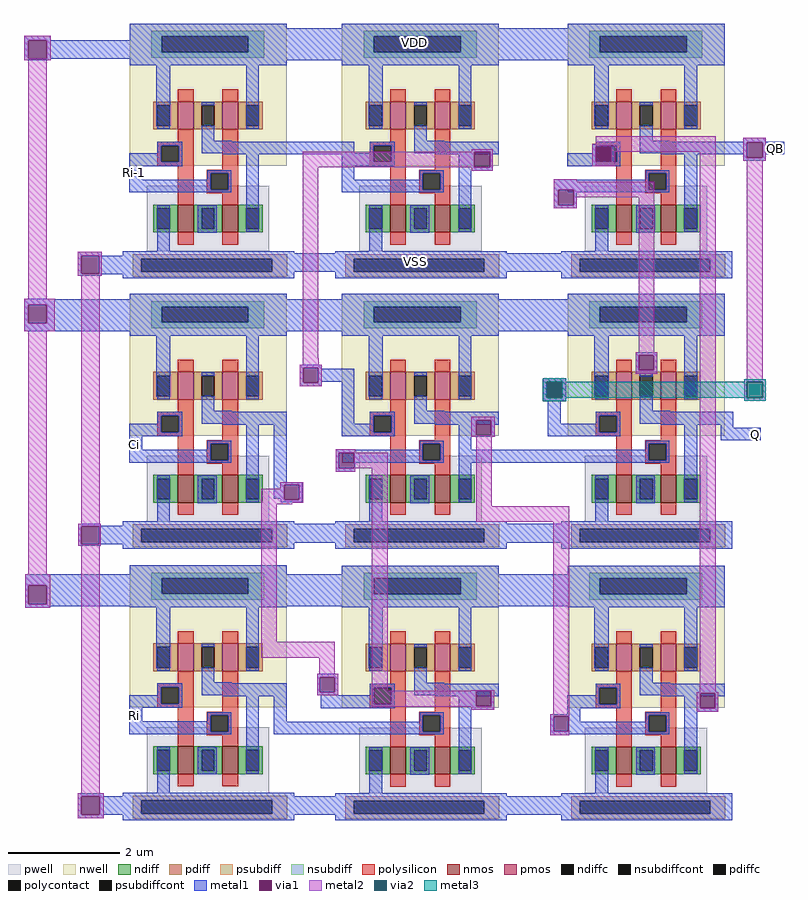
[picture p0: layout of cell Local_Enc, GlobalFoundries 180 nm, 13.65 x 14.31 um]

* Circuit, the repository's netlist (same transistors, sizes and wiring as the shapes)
* NGSPICE file created from Local_Enc.ext - technology: gf180mcuC

.subckt pmos_3p3_M8RWPS a_n28_n94# w_n202_n180# a_n116_n50# a_28_n50#
X0 a_28_n50# a_n28_n94# a_n116_n50# w_n202_n180# pfet_03v3 ad=0.22p pd=1.88u as=0.22p ps=1.88u w=0.5u l=0.28u
.ends

.subckt nmos_3p3_HZS5UA a_n28_n94# a_n116_n50# a_28_n50# VSUBS
X0 a_28_n50# a_n28_n94# a_n116_n50# VSUBS nfet_03v3 ad=0.22p pd=1.88u as=0.22p ps=1.88u w=0.5u l=0.28u
.ends

.subckt NAND VDD VSS B A OUT
Xpmos_3p3_M8RWPS_0 A VDD VDD OUT pmos_3p3_M8RWPS
Xpmos_3p3_M8RWPS_1 B VDD VDD OUT pmos_3p3_M8RWPS
Xnmos_3p3_HZS5UA_0 A m1_184_67# OUT VSS nmos_3p3_HZS5UA
Xnmos_3p3_HZS5UA_1 B VSS m1_184_67# VSS nmos_3p3_HZS5UA
.ends

.subckt Local_Enc Ri-1 VDD VSS Q QB Ci Ri
XNAND_0 VDD VSS Ri-1 Ri-1 NAND_1/B NAND
XNAND_1 VDD VSS NAND_1/B NAND_1/B NAND_5/B NAND
XNAND_2 VDD VSS Ci Ci NAND_6/B NAND
XNAND_4 VDD VSS NAND_4/B Q QB NAND
XNAND_3 VDD VSS Ri Ri NAND_6/A NAND
XNAND_5 VDD VSS NAND_5/B NAND_5/A NAND_8/A NAND
XNAND_6 VDD VSS NAND_6/B NAND_6/A NAND_5/A NAND
XNAND_7 VDD VSS NAND_8/A NAND_8/A NAND_4/B NAND
XNAND_8 VDD VSS QB NAND_8/A Q NAND
.ends

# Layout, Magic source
magic
tech gf180mcuC
magscale 1 10
<< nwell >>
rect 1738 2353 1814 2427
<< metal1 >>
rect 75 2845 190 2846
rect -304 2802 -208 2817
rect 75 2802 2212 2845
rect -304 2735 -289 2802
rect -222 2735 2212 2802
rect -304 2729 -208 2735
rect 75 2730 2212 2735
rect 2280 2437 2361 2451
rect 74 2255 120 2395
rect 593 2391 883 2437
rect 2167 2435 2426 2437
rect 1738 2421 1814 2427
rect 837 2255 883 2391
rect 1299 2401 1380 2410
rect 1299 2345 1314 2401
rect 1370 2345 1380 2401
rect 1738 2365 1749 2421
rect 1805 2365 1814 2421
rect 2167 2391 2293 2435
rect 2280 2379 2293 2391
rect 2349 2391 2426 2435
rect 2349 2379 2361 2391
rect 2280 2369 2361 2379
rect 1738 2353 1814 2365
rect 1299 2333 1380 2345
rect 1599 2264 1681 2302
rect 1599 2208 1615 2264
rect 1671 2208 1681 2264
rect 1599 2197 1681 2208
rect -111 2028 -25 2042
rect 51 2028 2227 2037
rect -111 2027 2227 2028
rect -111 1962 -99 2027
rect -34 1970 2227 2027
rect -34 1962 118 1970
rect -111 1961 118 1962
rect -111 1955 -25 1961
rect -304 1871 -194 1872
rect -304 1851 2187 1871
rect -304 1784 -289 1851
rect -222 1784 2187 1851
rect -304 1756 2187 1784
rect 1893 1669 1971 1681
rect 687 1625 765 1635
rect 687 1571 699 1625
rect 753 1621 765 1625
rect 753 1575 883 1621
rect 1893 1615 1905 1669
rect 1959 1615 1971 1669
rect 1893 1603 1971 1615
rect 1909 1592 1955 1603
rect 753 1571 765 1575
rect 687 1559 765 1571
rect 74 1284 120 1424
rect 593 1213 639 1466
rect 837 1378 883 1575
rect 1560 1573 1643 1588
rect 1560 1519 1574 1573
rect 1628 1519 1643 1573
rect 1560 1504 1643 1519
rect 1325 1449 1371 1466
rect 1303 1437 1387 1449
rect 1303 1383 1321 1437
rect 1375 1383 1387 1437
rect 1303 1377 1387 1383
rect 1578 1424 1624 1504
rect 1578 1378 1694 1424
rect 2167 1420 2244 1466
rect 2198 1410 2244 1420
rect 2198 1364 2343 1410
rect 816 1319 886 1332
rect 816 1263 826 1319
rect 882 1263 886 1319
rect 1263 1284 1696 1330
rect 816 1251 886 1263
rect 593 1204 696 1213
rect 593 1154 630 1204
rect 618 1150 630 1154
rect 684 1150 696 1204
rect 618 1141 696 1150
rect -110 1057 -29 1064
rect 51 1057 2219 1064
rect -110 1056 2219 1057
rect -110 991 -98 1056
rect -33 997 2219 1056
rect -33 991 118 997
rect -110 990 118 991
rect -110 986 -29 990
rect -299 843 2196 883
rect -299 775 -289 843
rect -222 775 2196 843
rect -299 768 2196 775
rect -299 767 -208 768
rect -299 763 -210 767
rect 749 514 824 526
rect 74 309 120 449
rect 593 354 639 491
rect 749 460 758 514
rect 812 460 824 514
rect 1324 472 1370 490
rect 1319 466 1375 472
rect 749 448 824 460
rect 1303 463 1386 466
rect 2129 464 2175 490
rect 762 402 883 448
rect 1303 409 1320 463
rect 1374 409 1386 463
rect 2124 460 2180 464
rect 2112 455 2189 460
rect 1303 396 1386 409
rect 1648 380 1694 448
rect 2112 401 2125 455
rect 2179 401 2189 455
rect 2112 389 2189 401
rect 1586 373 1694 380
rect 593 308 885 354
rect 1586 319 1599 373
rect 1653 319 1694 373
rect 1586 309 1694 319
rect 1586 305 1655 309
rect -111 86 -18 96
rect -111 19 -99 86
rect -32 19 2229 86
rect -111 7 -18 19
<< via1 >>
rect -289 2735 -222 2802
rect 1314 2345 1370 2401
rect 1749 2365 1805 2421
rect 2293 2379 2349 2435
rect 1615 2208 1671 2264
rect -99 1962 -34 2027
rect -289 1784 -222 1851
rect 699 1571 753 1625
rect 1905 1615 1959 1669
rect 1574 1519 1628 1573
rect 1321 1383 1375 1437
rect 826 1263 882 1319
rect 630 1150 684 1204
rect -98 991 -33 1056
rect -289 775 -222 843
rect 758 460 812 514
rect 1320 409 1374 463
rect 2125 401 2179 455
rect 1599 319 1653 373
rect -99 19 -32 86
<< metal2 >>
rect -304 2802 -208 2817
rect -304 2735 -289 2802
rect -222 2735 -208 2802
rect -304 2729 -208 2735
rect -289 1872 -222 2729
rect 1749 2430 2180 2456
rect 1738 2421 2180 2430
rect 1304 2401 1380 2410
rect 697 2345 1314 2401
rect 1370 2345 1380 2401
rect 1738 2365 1749 2421
rect 1805 2400 2180 2421
rect 1805 2365 1819 2400
rect 1738 2349 1819 2365
rect -111 2027 -25 2042
rect -111 1962 -99 2027
rect -34 1962 -25 2027
rect -111 1955 -25 1962
rect -304 1851 -194 1872
rect -304 1784 -289 1851
rect -222 1784 -194 1851
rect -304 1756 -194 1784
rect -289 883 -222 1756
rect -99 1064 -32 1955
rect 697 1659 753 2345
rect 1304 2333 1380 2345
rect 1599 2293 1681 2302
rect 1599 2264 1960 2293
rect 1599 2208 1615 2264
rect 1671 2237 1960 2264
rect 1671 2208 1681 2237
rect 1599 2197 1681 2208
rect 1904 1681 1960 2237
rect 1893 1669 1971 1681
rect 697 1635 754 1659
rect 687 1625 765 1635
rect 687 1571 699 1625
rect 753 1571 765 1625
rect 1893 1615 1905 1669
rect 1959 1615 1971 1669
rect 1893 1603 1971 1615
rect 687 1559 765 1571
rect 1560 1574 1643 1588
rect 1560 1518 1573 1574
rect 1629 1518 1643 1574
rect 1560 1504 1643 1518
rect 1303 1437 1387 1449
rect 1303 1383 1321 1437
rect 1375 1383 1387 1437
rect 1303 1377 1387 1383
rect 1320 1346 1377 1377
rect 816 1319 886 1332
rect 816 1263 826 1319
rect 882 1263 1002 1319
rect 816 1251 886 1263
rect 616 1204 699 1214
rect 616 1191 630 1204
rect 548 1150 630 1191
rect 684 1150 699 1204
rect 548 1140 699 1150
rect 548 1135 660 1140
rect -110 1056 -29 1064
rect -110 991 -98 1056
rect -33 991 -29 1056
rect -110 986 -29 991
rect -299 843 -210 883
rect -299 775 -289 843
rect -222 775 -210 843
rect -299 763 -210 775
rect -99 96 -32 986
rect 548 640 604 1135
rect 548 584 813 640
rect 757 526 813 584
rect 749 514 824 526
rect 749 460 758 514
rect 812 460 824 514
rect 749 448 824 460
rect 946 464 1002 1263
rect 1321 1127 1377 1346
rect 1321 1071 1654 1127
rect 1303 464 1386 466
rect 946 463 1386 464
rect 946 409 1320 463
rect 1374 409 1386 463
rect 946 408 1386 409
rect 1303 396 1386 408
rect 1598 380 1654 1071
rect 2124 460 2180 2400
rect 2280 2435 2361 2451
rect 2280 2379 2293 2435
rect 2349 2379 2361 2435
rect 2280 2369 2361 2379
rect 2293 1583 2349 2369
rect 2284 1574 2360 1583
rect 2284 1518 2293 1574
rect 2349 1518 2360 1574
rect 2284 1506 2360 1518
rect 2112 455 2189 460
rect 2112 401 2125 455
rect 2179 401 2189 455
rect 2112 389 2189 401
rect 1586 373 1655 380
rect 1586 319 1599 373
rect 1653 319 1655 373
rect 1586 305 1655 319
rect -111 86 -18 96
rect -111 19 -99 86
rect -32 19 -18 86
rect -111 7 -18 19
<< via2 >>
rect 1573 1573 1629 1574
rect 1573 1519 1574 1573
rect 1574 1519 1628 1573
rect 1628 1519 1629 1573
rect 1573 1518 1629 1519
rect 2293 1518 2349 1574
<< metal3 >>
rect 1560 1574 1643 1588
rect 2284 1574 2360 1583
rect 1560 1518 1573 1574
rect 1629 1518 2293 1574
rect 2349 1518 2360 1574
rect 1560 1504 1643 1518
rect 2284 1506 2360 1518
use NAND  NAND_0
transform 1 0 137 0 1 2043
box -86 -97 530 818
use NAND  NAND_1
transform 1 0 900 0 1 2043
box -86 -97 530 818
use NAND  NAND_2
transform 1 0 137 0 1 1072
box -86 -97 530 818
use NAND  NAND_3
transform 1 0 137 0 1 97
box -86 -97 530 818
use NAND  NAND_4
transform 1 0 1711 0 1 2043
box -86 -97 530 818
use NAND  NAND_5
transform 1 0 900 0 1 1072
box -86 -97 530 818
use NAND  NAND_6
transform 1 0 900 0 1 96
box -86 -97 530 818
use NAND  NAND_7
transform 1 0 1711 0 1 96
box -86 -97 530 818
use NAND  NAND_8
transform 1 0 1711 0 1 1072
box -86 -97 530 818
<< labels >>
flabel metal1 93 2328 93 2328 0 FreeSans 480 0 0 0 Ri-1
port 0 nsew
flabel metal1 1098 2792 1098 2792 0 FreeSans 480 0 0 0 VDD
port 1 nsew
flabel metal1 1102 2005 1102 2005 0 FreeSans 480 0 0 0 VSS
port 2 nsew
flabel metal1 2322 1385 2322 1385 0 FreeSans 480 0 0 0 Q
port 3 nsew
flabel metal1 2396 2412 2396 2412 0 FreeSans 480 0 0 0 QB
port 4 nsew
flabel metal1 93 1350 93 1350 0 FreeSans 480 0 0 0 Ci
port 5 nsew
flabel metal1 92 377 92 377 0 FreeSans 480 0 0 0 Ri
port 6 nsew
<< end >>

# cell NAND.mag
magic
tech gf180mcuC
magscale 1 10
<< nwell >>
rect -62 668 502 818
rect 243 394 306 398
rect 38 393 127 394
rect 38 332 125 393
rect 243 392 403 394
rect 310 379 476 380
rect 310 352 502 379
rect 272 348 502 352
rect 272 346 328 348
rect 357 346 502 348
rect 112 322 122 332
rect 310 328 502 346
<< pwell >>
rect 229 280 289 281
rect 229 221 292 280
rect 87 211 218 212
rect 303 211 416 212
<< psubdiff >>
rect -50 -26 504 -10
rect -50 -74 -19 -26
rect 450 -74 504 -26
rect -50 -92 504 -74
<< nsubdiff >>
rect 16 772 422 792
rect 16 716 53 772
rect 365 716 422 772
rect 16 695 422 716
<< psubdiffcont >>
rect -19 -74 450 -26
<< nsubdiffcont >>
rect 53 716 365 772
<< polysilicon >>
rect 38 380 168 394
rect 38 321 52 380
rect 115 321 168 380
rect 38 306 168 321
rect 112 212 168 306
rect 272 293 328 394
rect 216 280 328 293
rect 216 221 229 280
rect 292 221 328 280
rect 216 212 328 221
rect 216 208 303 212
<< polycontact >>
rect 52 321 115 380
rect 229 221 292 280
<< metal1 >>
rect -62 772 502 818
rect -62 716 53 772
rect 365 716 502 772
rect -62 668 502 716
rect 34 449 85 668
rect 209 447 230 454
rect 197 440 242 447
rect 357 440 403 668
rect 197 398 243 440
rect 197 394 306 398
rect 38 380 127 394
rect 38 352 52 380
rect -63 321 52 352
rect 115 321 127 380
rect 197 352 502 394
rect 273 348 502 352
rect -63 306 127 321
rect 218 280 303 291
rect 218 258 229 280
rect -61 221 229 258
rect 292 221 303 280
rect -61 212 303 221
rect 37 1 83 166
rect 184 67 251 165
rect 357 70 403 348
rect -86 -26 530 1
rect -86 -74 -19 -26
rect 450 -74 530 -26
rect -86 -97 530 -74
use nmos_3p3_HZS5UA  nmos_3p3_HZS5UA_0
transform 1 0 300 0 1 118
box -140 -118 140 118
use nmos_3p3_HZS5UA  nmos_3p3_HZS5UA_1
transform 1 0 140 0 1 118
box -140 -118 140 118
use pmos_3p3_M8RWPS  pmos_3p3_M8RWPS_0
transform -1 0 300 0 1 488
box -202 -180 202 180
use pmos_3p3_M8RWPS  pmos_3p3_M8RWPS_1
transform 1 0 140 0 1 488
box -202 -180 202 180
<< labels >>
flabel nsubdiffcont 207 744 207 744 0 FreeSans 320 0 0 0 VDD
port 0 nsew
flabel psubdiffcont 216 -48 216 -48 0 FreeSans 320 0 0 0 VSS
port 1 nsew
flabel metal1 -33 330 -33 330 0 FreeSans 480 0 0 0 B
port 2 nsew
flabel metal1 -30 232 -30 232 0 FreeSans 480 0 0 0 A
port 3 nsew
flabel metal1 469 376 469 376 0 FreeSans 480 0 0 0 OUT
port 4 nsew
flabel metal1 218 109 218 109 0 FreeSans 480 0 0 0 SD
port 5 nsew
<< end >>

# cell nmos_3p3_HZS5UA: kit device nmos_3p3, w 0.50 l 0.280 m 1 nf 1 diffcov 100 polycov 100 guard 0 glc 0 grc 0 gtc 0 gbc 0 tbcov 100 rlcov 100 topc 0 botc 0 poverlap 0 doverlap 1 lmin 0.28 wmin 0.22 full_metal 0 compatible {nmos_3p3 nmos_6p0 nmos_6p0_nat}

# cell pmos_3p3_M8RWPS: kit device pmos_3p3, w 0.50 l 0.280 m 1 nf 1 diffcov 100 polycov 100 guard 0 glc 0 grc 0 gtc 0 gbc 0 tbcov 100 rlcov 100 topc 0 botc 0 poverlap 0 doverlap 1 lmin 0.28 wmin 0.22 full_metal 0 compatible {pmos_3p3 pmos_6p0}
